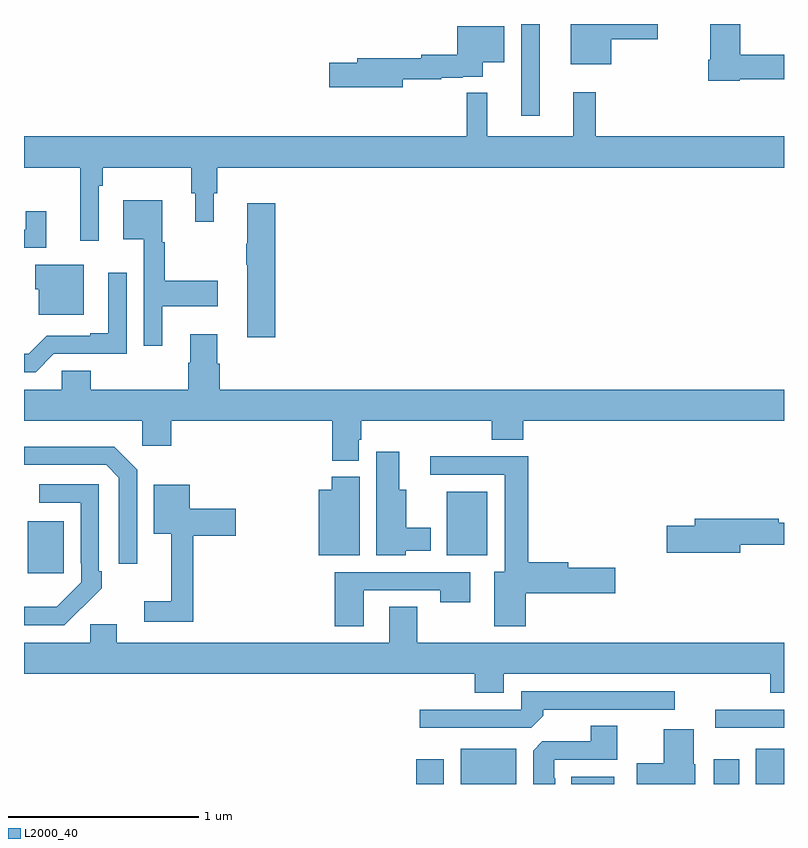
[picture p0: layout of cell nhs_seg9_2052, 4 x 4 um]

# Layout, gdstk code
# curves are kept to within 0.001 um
import gdstk
lib = gdstk.Library(unit=1e-6, precision=1e-09)
def R(c, l, rs):  # rectangles x0, y0, x1, y1
    for r in rs: c.add(gdstk.rectangle(r[:2], r[2:], *l))
def P(c, l, *ps):  # polygons
    for p in ps: c.add(gdstk.Polygon(p, *l))
L2000_40 = (2000, 40)

nhs_seg9_2052 = lib.new_cell('nhs_seg9_2052')
R(nhs_seg9_2052, L2000_40, [(229.064,1202.5,229.21,1202.629), (229.298,1202.5,229.591,1202.686), (229.88,1202.5,230.107,1202.539), (230.63,1202.5,230.764,1202.629), (230.852,1202.5,231,1202.686), (230.637,1202.796,231,1202.892), (227.021,1203.609,227.209,1203.883), (229.226,1203.704,229.438,1204.039), (229.617,1206.018,229.714,1206.5)])
P(nhs_seg9_2052, L2000_40, [(230.092,1206.419),(230.335,1206.419),(230.335,1206.5),(229.877,1206.5),(229.877,1206.287),(230.092,1206.287)],
  [(230.766,1206.21),(231,1206.21),(231,1206.338),(230.77,1206.338),(230.77,1206.5),(230.612,1206.5),(230.612,1206.313),(230.6,1206.313),(230.6,1206.202),(230.766,1206.202)],
  [(228.994,1206.21),(229.196,1206.21),(229.196,1206.216),(229.31,1206.216),(229.31,1206.222),(229.414,1206.222),(229.414,1206.299),(229.528,1206.299),(229.528,1206.487),(229.28,1206.487),(229.28,1206.338),(229.09,1206.338),(229.09,1206.32),(228.755,1206.32),(228.755,1206.297),(228.606,1206.297),(228.606,1206.167),(228.994,1206.167)],
  [(227.394,1205.648),(227.414,1205.648),(227.414,1205.744),(227.881,1205.744),(227.881,1205.61),(227.9,1205.61),(227.9,1205.46),(227.998,1205.46),(227.998,1205.61),(228.017,1205.61),(228.017,1205.744),(231,1205.744),(231,1205.908),(230.009,1205.908),(230.009,1206.142),(229.892,1206.142),(229.892,1205.908),(229.439,1205.908),(229.439,1206.137),(229.33,1206.137),(229.33,1205.908),(227,1205.908),(227,1205.744),(227.297,1205.744),(227.297,1205.358),(227.394,1205.358)],
  [(227.728,1205.015),(228.019,1205.015),(228.019,1205.15),(227.74,1205.15),(227.74,1205.351),(227.728,1205.351),(227.728,1205.572),(227.522,1205.572),(227.522,1205.366),(227.631,1205.366),(227.631,1204.806),(227.728,1204.806)],
  [(228.323,1205.557),(228.176,1205.557),(228.176,1205.344),(228.169,1205.344),(228.169,1205.233),(228.176,1205.233),(228.176,1204.851),(228.323,1204.851)],
  [(227.117,1205.515),(227.008,1205.515),(227.008,1205.418),(227,1205.418),(227,1205.322),(227.117,1205.322)],
  [(227.314,1205.233),(227.06,1205.233),(227.06,1205.103),(227.078,1205.103),(227.078,1204.97),(227.314,1204.97)],
  [(227.157,1204.764),(227.541,1204.764),(227.541,1205.191),(227.444,1205.191),(227.444,1204.873),(227.348,1204.873),(227.348,1204.86),(227.121,1204.86),(227.025,1204.764),(227,1204.764),(227,1204.668),(227.061,1204.668)],
  [(228.763,1204.311),(228.776,1204.311),(228.776,1204.412),(229.463,1204.412),(229.463,1204.313),(229.628,1204.313),(229.628,1204.412),(231,1204.412),(231,1204.576),(228.029,1204.576),(228.029,1204.713),(228.016,1204.713),(228.016,1204.867),(227.876,1204.867),(227.876,1204.718),(227.864,1204.718),(227.864,1204.576),(227.351,1204.576),(227.351,1204.674),(227.199,1204.674),(227.199,1204.576),(227,1204.576),(227,1204.412),(227.622,1204.412),(227.622,1204.281),(227.774,1204.281),(227.774,1204.412),(228.623,1204.412),(228.623,1204.201),(228.763,1204.201)],
  [(227.595,1204.155),(227.474,1204.276),(227,1204.276),(227,1204.179),(227.433,1204.179),(227.499,1204.113),(227.499,1203.66),(227.595,1203.66)],
  [(229.008,1203.728),(229.141,1203.728),(229.141,1203.85),(229.012,1203.85),(229.012,1204.048),(228.976,1204.048),(228.976,1204.249),(228.854,1204.249),(228.854,1203.704),(229.008,1203.704)],
  [(229.642,1203.503),(230.113,1203.503),(230.113,1203.638),(229.864,1203.638),(229.864,1203.667),(229.655,1203.667),(229.655,1204.226),(229.137,1204.226),(229.137,1204.128),(229.529,1204.128),(229.529,1203.616),(229.475,1203.616),(229.475,1203.33),(229.642,1203.33)],
  [(228.766,1204.116),(228.62,1204.116),(228.62,1204.048),(228.551,1204.048),(228.551,1203.704),(228.766,1203.704)],
  [(227.303,1203.427),(227.304,1203.426),(227.409,1203.531),(227.409,1203.619),(227.394,1203.619),(227.394,1204.077),(227.079,1204.077),(227.079,1203.981),(227.298,1203.981),(227.298,1203.661),(227.301,1203.661),(227.301,1203.561),(227.173,1203.433),(227,1203.432),(227,1203.336),(227.212,1203.336)],
  [(227.891,1203.806),(228.115,1203.806),(228.115,1203.948),(227.872,1203.948),(227.872,1204.075),(227.684,1204.075),(227.684,1203.818),(227.774,1203.818),(227.774,1203.463),(227.634,1203.463),(227.634,1203.354),(227.891,1203.354)],
  [(230.77,1203.76),(231,1203.76),(231,1203.876),(230.972,1203.876),(230.972,1203.896),(230.531,1203.896),(230.531,1203.86),(230.382,1203.86),(230.382,1203.718),(230.77,1203.718)],
  [(228.787,1203.519),(229.192,1203.519),(229.192,1203.456),(229.348,1203.456),(229.348,1203.615),(228.635,1203.615),(228.635,1203.33),(228.787,1203.33)],
  [(229.525,1203.08),(230.927,1203.08),(230.927,1202.981),(231,1202.981),(231,1203.244),(229.071,1203.244),(229.071,1203.434),(228.923,1203.434),(228.923,1203.244),(227.488,1203.244),(227.488,1203.342),(227.349,1203.342),(227.349,1203.244),(227,1203.244),(227,1203.08),(229.373,1203.08),(229.373,1202.981),(229.525,1202.981)],
  [(229.733,1202.858),(229.733,1202.892),(230.425,1202.892),(230.425,1202.988),(229.617,1202.988),(229.617,1202.892),(229.083,1202.892),(229.083,1202.796),(229.671,1202.796)],
  [(229.795,1202.531),(229.791,1202.531),(229.791,1202.628),(230.122,1202.628),(230.122,1202.807),(229.982,1202.807),(229.982,1202.724),(229.728,1202.724),(229.679,1202.675),(229.679,1202.5),(229.795,1202.5)],
  [(230.533,1202.604),(230.524,1202.604),(230.524,1202.788),(230.366,1202.788),(230.366,1202.608),(230.226,1202.608),(230.226,1202.5),(230.533,1202.5)])

lib.write_gds('nhs_seg9_2052.gds')
